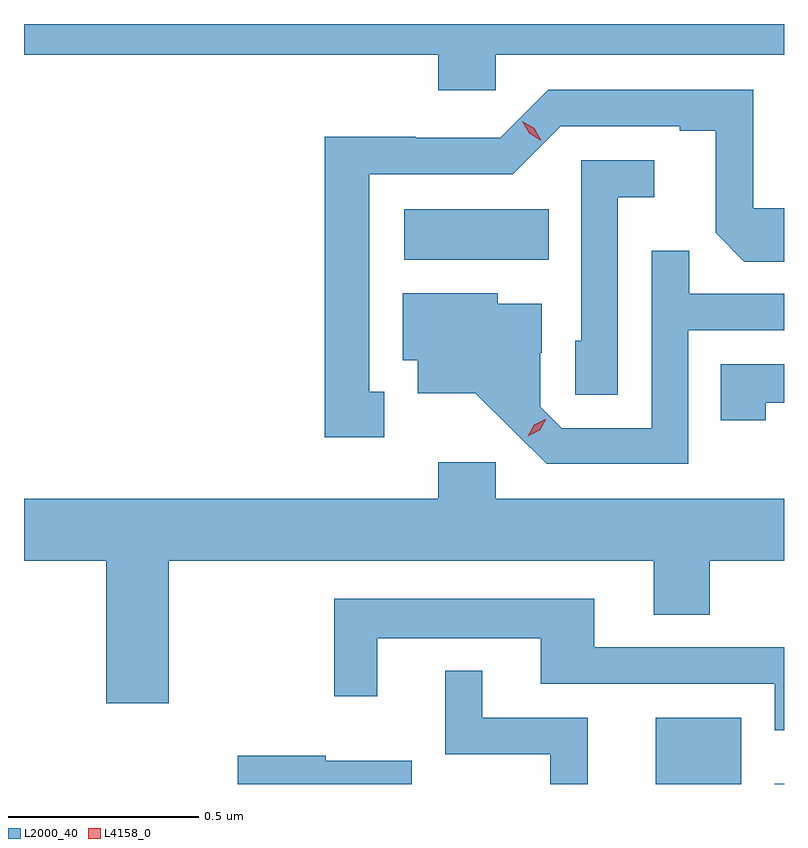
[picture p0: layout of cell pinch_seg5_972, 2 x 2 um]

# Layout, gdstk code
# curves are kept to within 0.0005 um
import gdstk
lib = gdstk.Library(unit=1e-6, precision=1e-09)
def R(c, l, rs):  # rectangles x0, y0, x1, y1
    for r in rs: c.add(gdstk.rectangle(r[:2], r[2:], *l))
def P(c, l, *ps):  # polygons
    for p in ps: c.add(gdstk.Polygon(p, *l))
L2000_40 = (2000, 40)
L4158_0 = (4158, 0)

pinch_seg5_972 = lib.new_cell('pinch_seg5_972')
R(pinch_seg5_972, L2000_40, [(753.866,902.793,754.09,902.968), (754.178,902.793,754.203,902.794), (753.204,904.172,753.584,904.306)])
P(pinch_seg5_972, L2000_40, [(753.444,904.712),(754.203,904.712),(754.203,904.793),(752.203,904.793),(752.203,904.712),(753.293,904.712),(753.293,904.619),(753.444,904.619)],
  [(753.151,903.825),(753.112,903.825),(753.112,904.398),(753.489,904.398),(753.615,904.524),(753.929,904.524),(753.929,904.512),(754.023,904.512),(754.023,904.244),(754.099,904.168),(754.203,904.168),(754.203,904.308),(754.122,904.308),(754.122,904.62),(753.582,904.62),(753.456,904.494),(753.234,904.494),(753.234,904.496),(752.994,904.496),(752.994,903.705),(753.151,903.705)],
  [(753.765,904.337),(753.862,904.337),(753.862,904.434),(753.669,904.434),(753.669,903.96),(753.654,903.96),(753.654,903.817),(753.765,903.817)],
  [(753.951,903.987),(754.203,903.987),(754.203,904.083),(753.953,904.083),(753.953,904.196),(753.855,904.196),(753.855,903.729),(753.618,903.729),(753.561,903.786),(753.561,903.928),(753.565,903.928),(753.565,904.057),(753.45,904.057),(753.45,904.084),(753.2,904.084),(753.2,903.908),(753.239,903.908),(753.239,903.821),(753.391,903.821),(753.578,903.636),(753.951,903.636)],
  [(754.155,903.796),(754.203,903.796),(754.203,903.897),(754.036,903.897),(754.036,903.75),(754.155,903.75)],
  [(752.584,903.38),(753.86,903.38),(753.86,903.238),(754.008,903.238),(754.008,903.38),(754.203,903.38),(754.203,903.544),(753.444,903.544),(753.444,903.64),(753.293,903.64),(753.293,903.544),(752.203,903.544),(752.203,903.38),(752.42,903.38),(752.42,903.006),(752.584,903.006)],
  [(754.203,903.153),(753.703,903.153),(753.703,903.28),(753.019,903.28),(753.019,903.024),(753.133,903.024),(753.133,903.176),(753.563,903.176),(753.563,903.057),(754.179,903.057),(754.179,902.934),(754.203,902.934)],
  [(753.686,902.967),(753.409,902.967),(753.409,903.091),(753.311,903.091),(753.311,902.871),(753.588,902.871),(753.588,902.793),(753.686,902.793)],
  [(753.223,902.854),(752.997,902.854),(752.997,902.867),(752.766,902.867),(752.766,902.793),(753.223,902.793)])
P(pinch_seg5_972, L4158_0, [(753.529,903.708),(753.529,903.708),(753.546,903.739),(753.577,903.754),(753.577,903.754),(753.577,903.754),(753.56,903.724),(753.529,903.708)],
  [(753.564,904.486),(753.532,904.505),(753.514,904.537),(753.514,904.537),(753.514,904.537),(753.546,904.519),(753.564,904.486),(753.564,904.486)])

lib.write_gds('pinch_seg5_972.gds')
